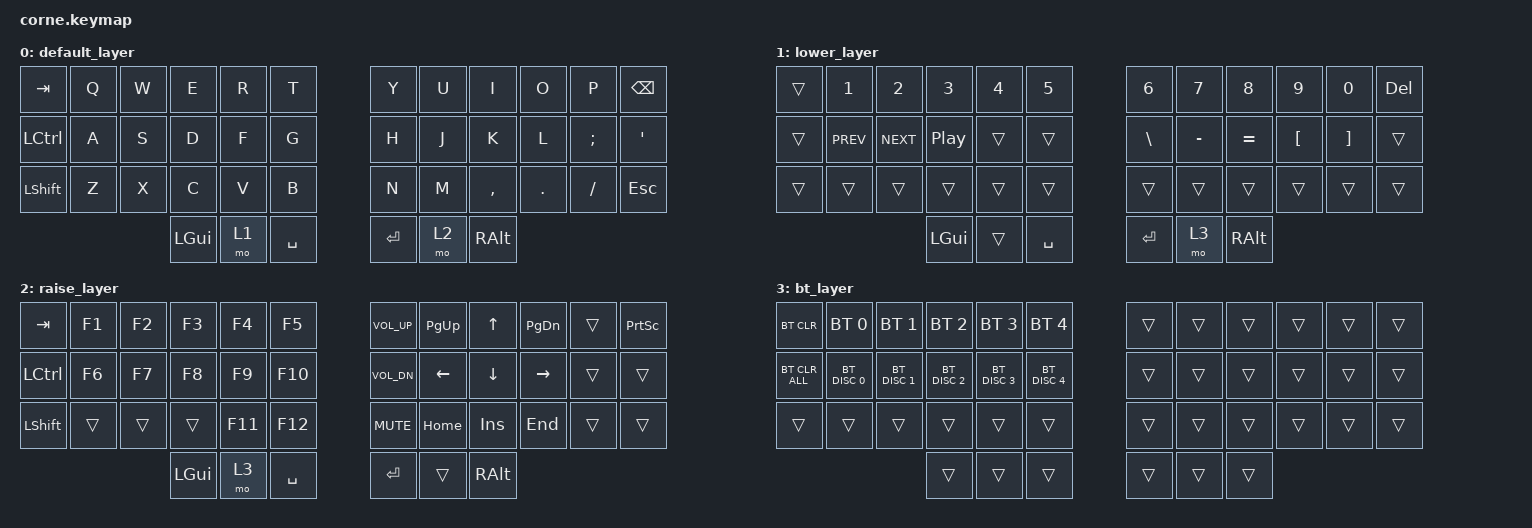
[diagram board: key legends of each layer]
/*
 * Copyright (c) 2020 The ZMK Contributors
 *
 * SPDX-License-Identifier: MIT
 */

#include <behaviors.dtsi>
#include <dt-bindings/zmk/bt.h>
#include <dt-bindings/zmk/keys.h>

/ {
    combos {
        compatible = "zmk,combos";

        combo_esc {
            bindings = <&kp ESCAPE>;
            key-positions = <1 2>;
        };

        combo_del {
            bindings = <&kp DELETE>;
            key-positions = <10 11>;
        };

        bt_combo {
            bindings = <&mo 3>;
            key-positions = <37 40>;
        };
    };

    keymap {
        compatible = "zmk,keymap";

        default_layer {
            // -----------------------------------------------------------------------------------------
            // |  TAB |  Q  |  W  |  E  |  R  |  T  |   |  Y  |  U   |  I  |  O  |  P  | BKSP |
            // | CTRL |  A  |  S  |  D  |  F  |  G  |   |  H  |  J   |  K  |  L  |  ;  |  '   |
            // | SHFT |  Z  |  X  |  C  |  V  |  B  |   |  N  |  M   |  ,  |  .  |  /  | ESC  |
            //                    | GUI | LWR | SPC |   | ENT | RSE  | ALT |

            bindings = <
&kp TAB    &kp Q  &kp W  &kp E     &kp R  &kp T      &kp Y    &kp U  &kp I      &kp O    &kp P     &kp BSPC
&kp LCTRL  &kp A  &kp S  &kp D     &kp F  &kp G      &kp H    &kp J  &kp K      &kp L    &kp SEMI  &kp SQT
&kp LSHFT  &kp Z  &kp X  &kp C     &kp V  &kp B      &kp N    &kp M  &kp COMMA  &kp DOT  &kp FSLH  &kp ESC
                         &kp LGUI  &mo 1  &kp SPACE  &kp RET  &mo 2  &kp RALT
            >;
        };

        lower_layer {
            // -----------------------------------------------------------------------------------------
            // |  TAB |  1  |  2  |  3  |  4  |  5  |   |  6  |  7  |  8  |  9  |  0  | BKSP |
            // | BTCLR| BT1 | BT2 | BT3 | BT4 | BT5 |   | LFT | DWN |  UP | RGT |     |      |
            // | SHFT |     |     |     |     |     |   |     |     |     |     |     |      |
            //                    | GUI |     | SPC |   | ENT |     | ALT |

            bindings = <
&trans  &kp N1      &kp N2      &kp N3            &kp N4  &kp N5     &kp N6         &kp N7     &kp N8     &kp N9            &kp N0             &kp DELETE
&trans  &kp C_PREV  &kp C_NEXT  &kp C_PLAY_PAUSE  &trans  &trans     &kp BACKSLASH  &kp MINUS  &kp EQUAL  &kp LEFT_BRACKET  &kp RIGHT_BRACKET  &trans
&trans  &trans      &trans      &trans            &trans  &trans     &trans         &trans     &trans     &trans            &trans             &trans
                                &kp LGUI          &trans  &kp SPACE  &kp RET        &mo 3      &kp RALT
            >;
        };

        raise_layer {
            // -----------------------------------------------------------------------------------------
            // |  TAB |  !  |  @  |  #  |  $  |  %  |   |  ^  |  &  |  *  |  (  |  )  | BKSP |
            // | CTRL |     |     |     |     |     |   |  -  |  =  |  [  |  ]  |  \  |  `   |
            // | SHFT |     |     |     |     |     |   |  _  |  +  |  {  |  }  | "|" |  ~   |
            //                    | GUI |     | SPC |   | ENT |     | ALT |

            bindings = <
&kp TAB    &kp F1  &kp F2  &kp F3    &kp F4   &kp F5     &kp C_VOL_UP  &kp PAGE_UP     &kp UP_ARROW    &kp PAGE_DOWN    &trans  &kp PRINTSCREEN
&kp LCTRL  &kp F6  &kp F7  &kp F8    &kp F9   &kp F10    &kp C_VOL_DN  &kp LEFT_ARROW  &kp DOWN_ARROW  &kp RIGHT_ARROW  &trans  &trans
&kp LSHFT  &trans  &trans  &trans    &kp F11  &kp F12    &kp C_MUTE    &kp HOME        &kp INSERT      &kp END          &trans  &trans
                           &kp LGUI  &mo 3    &kp SPACE  &kp RET       &trans          &kp RALT
            >;
        };

        bt_layer {
            bindings = <
&bt BT_CLR      &bt BT_SEL 0   &bt BT_SEL 1   &bt BT_SEL 2   &bt BT_SEL 3   &bt BT_SEL 4   &trans  &trans  &trans  &trans  &trans  &trans
&bt BT_CLR_ALL  &bt BT_DISC 0  &bt BT_DISC 1  &bt BT_DISC 2  &bt BT_DISC 3  &bt BT_DISC 4  &trans  &trans  &trans  &trans  &trans  &trans
&trans          &trans         &trans         &trans         &trans         &trans         &trans  &trans  &trans  &trans  &trans  &trans
                                              &trans         &trans         &trans         &trans  &trans  &trans
            >;
        };
    };
};
